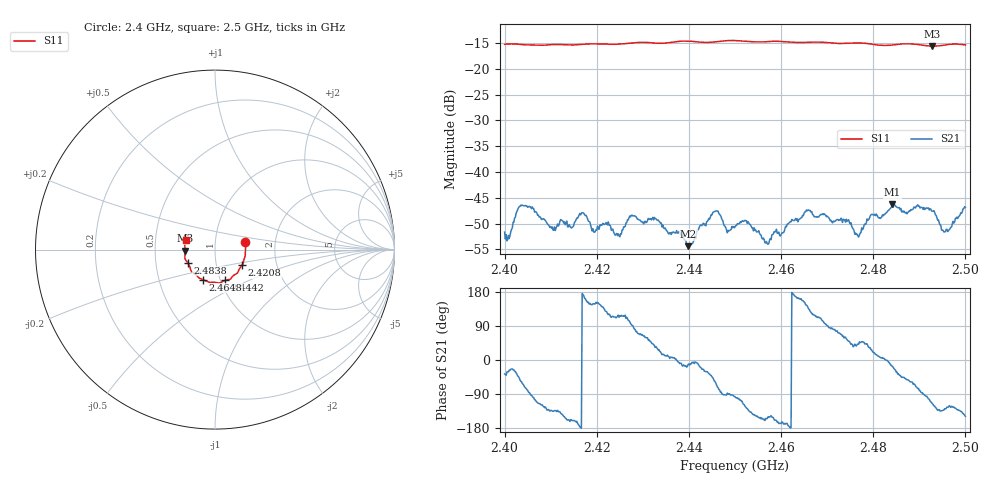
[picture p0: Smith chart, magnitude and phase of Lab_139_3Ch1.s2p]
# Hz S RI R 50
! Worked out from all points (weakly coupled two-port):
!   601 points, 2.4 GHz to 2.5 GHz, reference 50 ohm
!   highest |S21| = -46.25 dB at 2.4842 GHz (marker M1); lowest = -54.4 dB at 2.4398 GHz (marker M2)
!   lowest |S11| = -15.6 dB at 2.4928 GHz (marker M3), VSWR 1.40, Z = 35.8 - j0.375 ohm
!   |S11| at or under -10 dB: start of sweep to end of sweep
!   S12 and S22 are empty: the file has one direction only
!   S11 on the Smith chart (normalised r, x): 2.4 GHz: 1.40, +0.12; 2.4208 GHz: 1.33, -0.24; 2.4442 GHz: 1.05, -0.37; 2.4648 GHz: 0.83, -0.29; 2.4838 GHz: 0.73, -0.11; 2.5 GHz: 0.72, +0.08
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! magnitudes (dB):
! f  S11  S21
! 2.4 GHz  -15.2  -51.6
! 2.4037 GHz  -15.3  -46.5
! 2.4107 GHz  -15.3  -51.3
! 2.4167 GHz  -15.2  -48.0
! 2.4208 GHz  -15.2  -50.4
! 2.4245 GHz  -15.2  -52.3
! 2.4277 GHz  -15.0  -48.4
! 2.4333 GHz  -15.0  -49.3
! 2.4398 GHz  -14.6  -54.4
! 2.4442 GHz  -14.9  -49.4
! 2.4458 GHz  -14.8  -47.6
! 2.45 GHz  -14.5  -50.6
! 2.457 GHz  -14.7  -53.9
! 2.4648 GHz  -14.9  -48.5
! 2.4667 GHz  -14.8  -47.7
! 2.4765 GHz  -15.0  -52.1
! 2.4833 GHz  -15.5  -47.4
! 2.4838 GHz  -15.4  -46.9
! 2.4842 GHz  -15.4  -46.3
! 2.4928 GHz  -15.6  -47.6
! 2.4958 GHz  -15.3  -51.1
! 2.5 GHz  -15.4  -46.9
